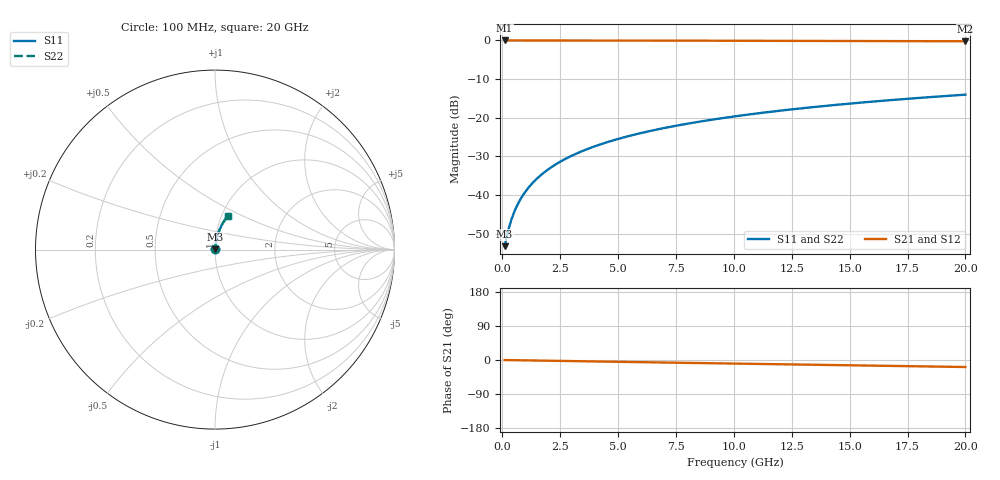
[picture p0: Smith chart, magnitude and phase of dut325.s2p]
! Touchstone file exported from HFSS 2026.1.0
!  File:  C:/ffzhzh/LocalFiles/Ansys_Project_Files/temp_train_TMRDL_325_1783003557_53980.aedt
!  Generated:  10:47:15 PM Jul  2, 2026
!  Design:  TMRDL
!  Project:  temp_train_TMRDL_325_1783003557_53980
! Variables:
!  h_bsmrdl = 2um
!  h_ox = 20um
!  h_rdl = 5um
!  h_sub = 80um
!  h_tmrdl = 4.21um
!  h_tsv = 80um
!  h_via = 3um
!  l_bsmrdl = 300um
!  l_sub = 640.81um
!  l_tmrdl = 240.81um
!  m_sub = 200um
!  pitch = 33.28um
!  r_tsv = 6um
!  s_tmrdl = 10um
!  w_bsmrdl = 18um
!  w_sub = 500um
!  w_tmrdl = 11.65um
!  x_tsv_center1 = 246.635um
!  x_tsv_center2 = 564.635um
!  x_tsv_center3 = 817.095um
!  x_tsv_center4 = 1135.095um
!  x_tsv_center5 = 1387.555um
!  x_tsv_center6 = 1705.555um
# GHz S MA R 50.000000
! Terminal data exported
! Port[1] = TM_RDL1_1_T1
! Port[2] = TM_RDL1_1_T2
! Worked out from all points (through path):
!   200 points, 100 MHz to 20 GHz, reference 50 ohm
!   highest |S21| = -0.02 dB at 100 MHz (marker M1); lowest = -0.2 dB at 20 GHz (marker M2)
!   group delay of S21, straight-line fit = 2.57 ps
!   lowest |S11| = -53.3 dB at 100 MHz (marker M3), VSWR 1.00, Z = 50.2 + j0.113 ohm
!   |S11| at or under -10 dB: start of sweep to end of sweep
!   |S22| runs from -53.3 to -14.0 dB; largest |S21 - S12| = 3.5e-15
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0.1  0.002171 31.4  0.9981 -0.1  0.9981 -0.1  0.002171 31.4
! Gamma 0 0 0 0
! Port Impedance 50 0 50 0
0.2  0.002938 49.9  0.9981 -0.2  0.9981 -0.2  0.002938 49.9
0.3  0.003867 59.8  0.9981 -0.3  0.9981 -0.3  0.003867 59.8
0.4  0.004853 65.6  0.998 -0.4  0.998 -0.4  0.004853 65.6
0.5  0.005862 69.5  0.998 -0.5  0.998 -0.5  0.005863 69.5
0.6  0.006884 72.2  0.9979 -0.6  0.9979 -0.6  0.006884 72.2
0.8  0.008951 75.7  0.9979 -0.8  0.9979 -0.8  0.008951 75.7
1.1  0.01209 78.7  0.9978 -1.1  0.9978 -1.1  0.01209 78.7
1.3  0.01419 79.9  0.9977 -1.3  0.9977 -1.3  0.01419 79.9
1.6  0.01736 81.0  0.9976 -1.5  0.9976 -1.5  0.01736 81.0
2.1  0.02264 82.0  0.9974 -2.0  0.9974 -2.0  0.02264 82.0
2.7  0.02898 82.4  0.9971 -2.6  0.9971 -2.6  0.02898 82.4
3.5  0.0374 82.4  0.9966 -3.4  0.9966 -3.4  0.0374 82.4
4.2  0.04472 82.2  0.996 -4.0  0.996 -4.0  0.04472 82.2
5  0.05302 81.7  0.9954 -4.8  0.9954 -4.8  0.05302 81.7
5.9  0.06228 81.1  0.9945 -5.6  0.9945 -5.6  0.06228 81.1
6.8  0.07147 80.4  0.9936 -6.5  0.9936 -6.5  0.07147 80.4
8.3  0.0866 79.2  0.9918 -7.9  0.9918 -7.9  0.0866 79.2
10.1  0.1045 77.7  0.9896 -9.5  0.9896 -9.5  0.1045 77.7
13.4  0.1367 75.0  0.9848 -12.6  0.9848 -12.6  0.1367 75.0
16.7  0.168 72.2  0.9792 -15.6  0.9792 -15.6  0.168 72.2
20  0.1985 69.5  0.973 -18.5  0.973 -18.5  0.1985 69.4
